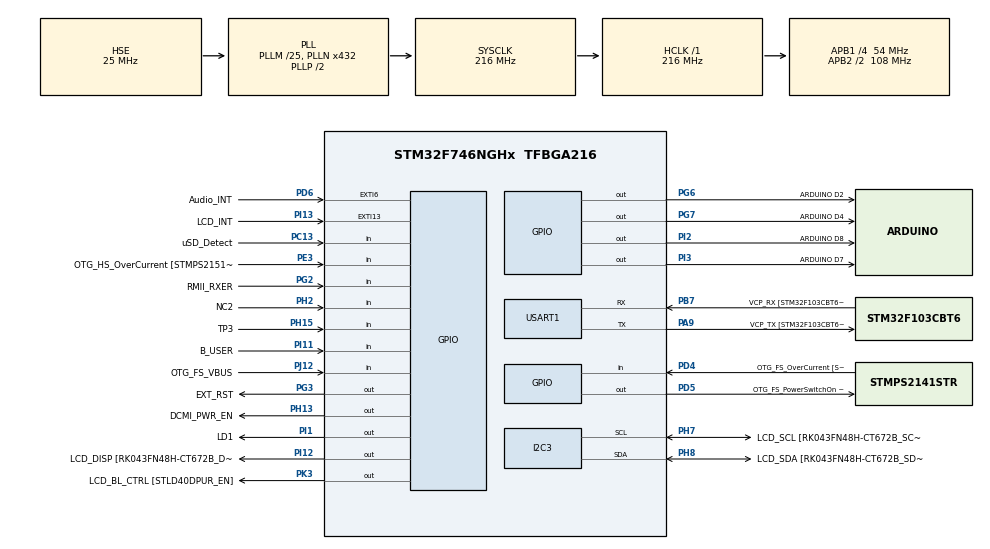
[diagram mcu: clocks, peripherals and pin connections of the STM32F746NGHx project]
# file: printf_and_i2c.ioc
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I2C3.Timing=0x20404768
Mcu.Family=STM32F7
Mcu.Name=STM32F746NGHx
Mcu.Package=TFBGA216
NVIC.PriorityGroup=NVIC_PRIORITYGROUP_4
NVIC.TIM3_IRQn=true\:0\:0\:false\:false\:true\:true\:true\:true
PA0/WKUP.GPIO_Label=ARDUINO A0
PA0/WKUP.GPIO_Mode=GPIO_MODE_ANALOG
PA0/WKUP.GPIO_PuPd=GPIO_NOPULL
PA0/WKUP.Signal=ADCx_IN0
PA1.GPIO_Label=RMII_REF_CLK [LAN8742A-CZ-TR_REFCLK0]
PA1.Signal=ETH_REF_CLK
PA10.GPIO_Label=OTG_FS_ID
PA10.Signal=USB_OTG_FS_ID
PA11.GPIO_Label=OTG_FS_N
PA11.Signal=USB_OTG_FS_DM
PA12.GPIO_Label=OTG_FS_P
PA12.Signal=USB_OTG_FS_DP
PA13.GPIO_Label=SWDIO
PA13.Mode=Serial_Wire
PA13.Signal=SYS_JTMS-SWDIO
PA14.GPIO_Label=SWCLK
PA14.Mode=Serial_Wire
PA14.Signal=SYS_JTCK-SWCLK
PA15.GPIO_Label=ARDUINO PWM/D9
PA15.GPIO_ModeDefaultPP=GPIO_MODE_AF_PP
PA15.GPIO_PuPd=GPIO_NOPULL
PA15.GPIO_Speed=GPIO_SPEED_FREQ_LOW
PA15.Signal=S_TIM2_CH1_ETR
PA2.GPIO_Label=RMII_MDIO [LAN8742A-CZ-TR_MDIO]
PA2.Signal=ETH_MDIO
PA3.GPIO_Label=ULPI_D0 [USB3320C-EZK_D0]
PA3.Signal=USB_OTG_HS_ULPI_D0
PA4.GPIO_Label=DCMI_HSYNC
PA4.Signal=DCMI_HSYNC
PA5.GPIO_Label=ULPI_CLK [USB3320C-EZK_CLKOUT]
PA5.Signal=USB_OTG_HS_ULPI_CK
PA6.Signal=DCMI_PIXCLK
PA7.GPIO_Label=RMII_CRS_DV [LAN8742A-CZ-TR_CRS_DV]
PA7.Signal=ETH_CRS_DV
PA8.GPIO_Label=ARDUINO PWM/D10
PA8.GPIO_ModeDefaultPP=GPIO_MODE_AF_PP
PA8.GPIO_PuPd=GPIO_NOPULL
PA8.GPIO_Speed=GPIO_SPEED_FREQ_LOW
PA8.Signal=S_TIM1_CH1
PA9.GPIO_Label=VCP_TX [STM32F103CBT6_PA3]
PA9.GPIO_Mode=GPIO_MODE_AF_PP
PA9.GPIO_PuPd=GPIO_NOPULL
PA9.GPIO_Speed=GPIO_SPEED_FREQ_LOW
PA9.Mode=Asynchronous
PA9.Signal=USART1_TX
PB0.GPIO_Label=ULPI_D1 [USB3320C-EZK_D1]
PB0.Signal=USB_OTG_HS_ULPI_D1
PB1.GPIO_Label=ULPI_D2 [USB3320C-EZK_D2]
PB1.Signal=USB_OTG_HS_ULPI_D2
PB10.GPIO_Label=ULPI_D3 [USB3320C-EZK_D3]
PB10.Signal=USB_OTG_HS_ULPI_D3
PB11.GPIO_Label=ULPI_D4 [USB3320C-EZK_D4]
PB11.Signal=USB_OTG_HS_ULPI_D4
PB12.GPIO_Label=ULPI_D5 [USB3320C-EZK_D5]
PB12.Signal=USB_OTG_HS_ULPI_D5
PB13.GPIO_Label=ULPI_D6 [USB3320C-EZK_D6]
PB13.Signal=USB_OTG_HS_ULPI_D6
PB14.GPIO_Label=ARDUINO MISO/D12
PB14.GPIO_Mode=GPIO_MODE_AF_PP
PB14.GPIO_PuPd=GPIO_NOPULL
PB14.GPIO_Speed=GPIO_SPEED_FREQ_LOW
PB14.Signal=SPI2_MISO
PB15.GPIO_Label=ARDUINO MOSI/PWM/D11
PB15.GPIO_Mode=GPIO_MODE_AF_PP
PB15.GPIO_PuPd=GPIO_NOPULL
PB15.GPIO_Speed=GPIO_SPEED_FREQ_LOW
PB15.Signal=SPI2_MOSI
PB2.Signal=QUADSPI_CLK
PB3.GPIO_Label=SWO
PB3.Signal=SYS_JTDO-SWO
PB4.GPIO_Label=ARDUINO PWM/D3
PB4.GPIO_ModeDefaultPP=GPIO_MODE_AF_PP
PB4.GPIO_PuPd=GPIO_NOPULL
PB4.GPIO_Speed=GPIO_SPEED_FREQ_LOW
PB4.Signal=S_TIM3_CH1
PB5.GPIO_Label=ULPI_D7 [USB3320C-EZK_D7]
PB5.Signal=USB_OTG_HS_ULPI_D7
PB6.GPIO_Label=QSPI_NCS [N25Q128A13EF840E_S]
PB6.Signal=QUADSPI_BK1_NCS
PB7.GPIO_Label=VCP_RX [STM32F103CBT6_PA2]
PB7.GPIO_Mode=GPIO_MODE_AF_PP
PB7.GPIO_PuPd=GPIO_NOPULL
PB7.GPIO_Speed=GPIO_SPEED_FREQ_LOW
PB7.Mode=Asynchronous
PB7.Signal=USART1_RX
PB8.GPIO_Label=ARDUINO SCL/D15
PB8.GPIO_Mode=GPIO_MODE_AF_OD
PB8.GPIO_PuPd=GPIO_NOPULL
PB8.GPIO_Speed=GPIO_SPEED_FREQ_LOW
PB8.Signal=I2C1_SCL
PB9.GPIO_Label=ARDUINO SDA/D14
PB9.GPIO_Mode=GPIO_MODE_AF_OD
PB9.GPIO_PuPd=GPIO_NOPULL
PB9.GPIO_Speed=GPIO_SPEED_FREQ_LOW
PB9.Signal=I2C1_SDA
PC0.GPIO_Label=ULPI_STP [USB3320C-EZK_STP]
PC0.Signal=USB_OTG_HS_ULPI_STP
PC1.GPIO_Label=RMII_MDC [LAN8742A-CZ-TR_MDC]
PC1.Signal=ETH_MDC
PC10.GPIO_Label=SDMMC_D2
PC10.Signal=SDMMC1_D2
PC11.GPIO_Label=SDMMC_D3
PC11.Signal=SDMMC1_D3
PC12.GPIO_Label=SDMMC_CK
PC12.Signal=SDMMC1_CK
PC13.GPIO_Label=uSD_Detect
PC13.Signal=GPIO_Input
PC14/OSC32_IN.GPIO_Label=RCC_OSC32_IN
PC14/OSC32_IN.Signal=RCC_OSC32_IN
PC15/OSC32_OUT.GPIO_Label=RCC_OSC32_OUT
PC15/OSC32_OUT.Signal=RCC_OSC32_OUT
PC2.GPIO_Label=ULPI_DIR [USB3320C-EZK_DIR]
PC2.Signal=USB_OTG_HS_ULPI_DIR
PC3.GPIO_Label=FMC_SDCKE0 [MT48LC4M32B2B5-6A_CKE]
PC3.Signal=FMC_SDCKE0
PC4.GPIO_Label=RMII_RXD0 [LAN8742A-CZ-TR_RXD0]
PC4.Signal=ETH_RXD0
PC5.GPIO_Label=RMII_RXD1 [LAN8742A-CZ-TR_RXD1]
PC5.Signal=ETH_RXD1
PC6.GPIO_Label=ARDUINO TX/D1
PC6.Signal=USART6_TX
PC7.GPIO_Label=ARDUINO RX/D0
PC7.Signal=USART6_RX
PC8.Signal=SDMMC1_D0
PC9.Signal=SDMMC1_D1
PD0.GPIO_Label=FMC_D2 [MT48LC4M32B2B5-6A_DQ2]
PD0.Signal=FMC_D2_DA2
PD1.GPIO_Label=FMC_D3 [MT48LC4M32B2B5-6A_DQ3]
PD1.Signal=FMC_D3_DA3
PD10.GPIO_Label=FMC_D15 [MT48LC4M32B2B5-6A_DQ15]
PD10.Signal=FMC_D15_DA15
PD11.GPIO_Label=QSPI_D0 [N25Q128A13EF840E_DQ0]
PD11.Signal=QUADSPI_BK1_IO0
PD12.GPIO_Label=QSPI_D1 [N25Q128A13EF840E_DQ1]
PD12.Signal=QUADSPI_BK1_IO1
PD13.GPIO_Label=QSPI_D3 [N25Q128A13EF840E_DQ3]
PD13.Signal=QUADSPI_BK1_IO3
PD14.GPIO_Label=FMC_D0 [MT48LC4M32B2B5-6A_DQ0]
PD14.Signal=FMC_D0_DA0
PD15.GPIO_Label=FMC_D1 [MT48LC4M32B2B5-6A_DQ1]
PD15.Signal=FMC_D1_DA1
PD2.GPIO_Label=SDMMC_D0
PD2.Signal=SDMMC1_CMD
PD3.GPIO_Label=DCMI_D5
PD3.Signal=DCMI_D5
PD4.GPIO_Label=OTG_FS_OverCurrent [STMPS2141STR_Fault]
PD4.Signal=GPIO_Input
PD5.GPIO_Label=OTG_FS_PowerSwitchOn [STMPS2141STR_EN]
PD5.PinState=GPIO_PIN_SET
PD5.Signal=GPIO_Output
PD6.GPIO_Label=Audio_INT
PD6.GPIO_ModeDefaultEXTI=GPIO_MODE_EVT_RISING
PD6.Signal=GPXTI6
PD7.GPIO_Label=SPDIF_RX0 [74LVC1G04SE_4]
PD7.Signal=SPDIFRX_IN0
PD8.GPIO_Label=FMC_D13 [MT48LC4M32B2B5-6A_DQ13]
PD8.Signal=FMC_D13_DA13
PD9.GPIO_Label=FMC_D14 [MT48LC4M32B2B5-6A_DQ14]
PD9.Signal=FMC_D14_DA14
PE0.GPIO_Label=FMC_NBL0 [MT48LC4M32B2B5-6A_DQM0]
PE0.Signal=FMC_NBL0
PE1.GPIO_Label=FMC_NBL1 [MT48LC4M32B2B5-6A_DQM1]
PE1.Signal=FMC_NBL1
PE10.GPIO_Label=FMC_D7 [MT48LC4M32B2B5-6A_DQ7]
PE10.Signal=FMC_D7_DA7
PE11.GPIO_Label=FMC_D8 [MT48LC4M32B2B5-6A_DQ8]
PE11.Signal=FMC_D8_DA8
PE12.GPIO_Label=FMC_D9 [MT48LC4M32B2B5-6A_DQ9]
PE12.Signal=FMC_D9_DA9
PE13.GPIO_Label=FMC_D10 [MT48LC4M32B2B5-6A_DQ10]
PE13.Signal=FMC_D10_DA10
PE14.GPIO_Label=FMC_D11 [MT48LC4M32B2B5-6A_DQ11]
PE14.Signal=FMC_D11_DA11
PE15.GPIO_Label=FMC_D12 [MT48LC4M32B2B5-6A_DQ12]
PE15.Signal=FMC_D12_DA12
PE2.GPIO_Label=QSPI_D2 [N25Q128A13EF840E_DQ2]
PE2.Signal=QUADSPI_BK1_IO2
PE3.GPIO_Label=OTG_HS_OverCurrent [STMPS2151STR_FAULT]
PE3.Signal=GPIO_Input
PE4.GPIO_Label=LCD_B0 [RK043FN48H-CT672B_B0]
PE4.Signal=LTDC_B0
PE5.GPIO_Label=DCMI_D6
PE5.Signal=DCMI_D6
PE6.GPIO_Label=DCMI_D7
PE6.Signal=DCMI_D7
PE7.GPIO_Label=FMC_D4 [MT48LC4M32B2B5-6A_DQ4]
PE7.Signal=FMC_D4_DA4
PE8.GPIO_Label=FMC_D5 [MT48LC4M32B2B5-6A_DQ5]
PE8.Signal=FMC_D5_DA5
PE9.GPIO_Label=FMC_D6 [MT48LC4M32B2B5-6A_DQ6]
PE9.Signal=FMC_D6_DA6
PF0.GPIO_Label=FMC_A0 [MT48LC4M32B2B5-6A_A0]
PF0.Signal=FMC_A0
PF1.GPIO_Label=FMC_A1 [MT48LC4M32B2B5-6A_A1]
PF1.Signal=FMC_A1
PF10.GPIO_Label=ARDUINO A1
PF10.GPIO_Mode=GPIO_MODE_ANALOG
PF10.GPIO_PuPd=GPIO_NOPULL
PF10.Signal=ADC3_IN8
PF11.GPIO_Label=FMC_SDNRAS [MT48LC4M32B2B5-6A_RAS]
PF11.Signal=FMC_SDNRAS
PF12.GPIO_Label=FMC_A6 [MT48LC4M32B2B5-6A_A6]
PF12.Signal=FMC_A6
PF13.GPIO_Label=FMC_A7 [MT48LC4M32B2B5-6A_A7]
PF13.Signal=FMC_A7
PF14.GPIO_Label=FMC_A8 [MT48LC4M32B2B5-6A_A8]
PF14.Signal=FMC_A8
PF15.GPIO_Label=FMC_A9 [MT48LC4M32B2B5-6A_A9]
PF15.Signal=FMC_A9
PF2.GPIO_Label=FMC_A2 [MT48LC4M32B2B5-6A_A2]
PF2.Signal=FMC_A2
PF3.GPIO_Label=FMC_A3 [MT48LC4M32B2B5-6A_A3]
PF3.Signal=FMC_A3
PF4.GPIO_Label=FMC_A4 [MT48LC4M32B2B5-6A_A4]
PF4.Signal=FMC_A4
PF5.GPIO_Label=FMC_A5 [MT48LC4M32B2B5-6A_A5]
PF5.Signal=FMC_A5
PF6.GPIO_Label=ARDUINO A5
PF6.GPIO_Mode=GPIO_MODE_ANALOG
PF6.GPIO_PuPd=GPIO_NOPULL
PF6.Signal=ADC3_IN4
PF7.GPIO_Label=ARDUINO A4
PF7.GPIO_Mode=GPIO_MODE_ANALOG
PF7.GPIO_PuPd=GPIO_NOPULL
PF7.Signal=ADC3_IN5
PF8.GPIO_Label=ARDUINO A3
PF8.GPIO_Mode=GPIO_MODE_ANALOG
PF8.GPIO_PuPd=GPIO_NOPULL
PF8.Signal=ADC3_IN6
PF9.GPIO_Label=ARDUINO A2
PF9.GPIO_Mode=GPIO_MODE_ANALOG
PF9.GPIO_PuPd=GPIO_NOPULL
PF9.Signal=ADC3_IN7
PG0.GPIO_Label=FMC_A10 [MT48LC4M32B2B5-6A_A10]
PG0.Signal=FMC_A10
PG1.GPIO_Label=FMC_A11 [MT48LC4M32B2B5-6A_A11]
PG1.Signal=FMC_A11
PG10.GPIO_Label=SAI2_SDB [WM8994ECS/R_ADCDAT1]
PG10.Signal=SAI2_SD_B
PG11.GPIO_Label=RMII_TX_EN [LAN8742A-CZ-TR_TXEN]
PG11.Signal=ETH_TX_EN
PG12.GPIO_Label=LCD_B4 [RK043FN48H-CT672B_B4]
PG12.Signal=LTDC_B4
PG13.GPIO_Label=RMII_TXD0 [LAN8742A-CZ-TR_TXD0]
PG13.Signal=ETH_TXD0
PG14.GPIO_Label=RMII_TXD1 [LAN8742A-CZ-TR_TXD1]
PG14.Signal=ETH_TXD1
PG15.GPIO_Label=FMC_SDNCAS [MT48LC4M32B2B5-6A_CAS]
PG15.Signal=FMC_SDNCAS
PG2.GPIO_Label=RMII_RXER
PG2.Signal=GPIO_Input
PG3.GPIO_Label=EXT_RST
PG3.Signal=GPIO_Output
PG4.GPIO_Label=FMC_BA0 [MT48LC4M32B2B5-6A_BA0]
PG4.Signal=FMC_A14_BA0
PG5.GPIO_Label=FMC_BA1 [MT48LC4M32B2B5-6A_BA1]
PG5.Signal=FMC_A15_BA1
PG6.GPIO_Label=ARDUINO D2
PG6.Signal=GPIO_Output
PG7.GPIO_Label=ARDUINO D4
PG7.Signal=GPIO_Output
PG8.GPIO_Label=FMC_SDCLK [MT48LC4M32B2B5-6A_CLK]
PG8.Signal=FMC_SDCLK
PG9.GPIO_Label=DCMI_VSYNC
PG9.Signal=DCMI_VSYNC
PH0/OSC_IN.GPIO_Label=OSC_25M [NZ2520SB-25.00M_OUT]
PH0/OSC_IN.Mode=HSE-External-Oscillator
PH0/OSC_IN.Signal=RCC_OSC_IN
PH1/OSC_OUT.Mode=HSE-External-Oscillator
PH1/OSC_OUT.Signal=RCC_OSC_OUT
PH10.GPIO_Label=DCMI_D1
PH10.Signal=DCMI_D1
PH11.GPIO_Label=DCMI_D2
PH11.Signal=DCMI_D2
PH12.GPIO_Label=DCMI_D3
PH12.Signal=DCMI_D3
PH13.GPIO_Label=DCMI_PWR_EN
PH13.Signal=GPIO_Output
PH14.GPIO_Label=DCMI_D4
PH14.Signal=DCMI_D4
PH15.GPIO_Label=TP3
PH15.Signal=GPIO_Input
PH2.GPIO_Label=NC2
PH2.Signal=GPIO_Input
PH3.GPIO_Label=FMC_SDNE0 [MT48LC4M32B2B5-6A_CS]
PH3.Signal=FMC_SDNE0
PH4.GPIO_Label=ULPI_NXT [USB3320C-EZK_NXT]
PH4.Signal=USB_OTG_HS_ULPI_NXT
PH5.GPIO_Label=FMC_SDNME [MT48LC4M32B2B5-6A_WE]
PH5.Signal=FMC_SDNWE
PH6.GPIO_Label=ARDUINO PWM/D6
PH6.Signal=S_TIM12_CH1
PH7.GPIO_Label=LCD_SCL [RK043FN48H-CT672B_SCL]
PH7.Mode=I2C
PH7.Signal=I2C3_SCL
PH8.GPIO_Label=LCD_SDA [RK043FN48H-CT672B_SDA]
PH8.Mode=I2C
PH8.Signal=I2C3_SDA
PH9.GPIO_Label=DCMI_D0
PH9.Signal=DCMI_D0
PI0.GPIO_Label=ARDUINO PWM/CS/D5
PI0.GPIO_ModeDefaultPP=GPIO_MODE_AF_PP
PI0.GPIO_PuPd=GPIO_NOPULL
PI0.GPIO_Speed=GPIO_SPEED_FREQ_LOW
PI0.Signal=S_TIM5_CH4
PI1.GPIO_Label=LD1
PI1.Signal=GPIO_Output
PI10.GPIO_Label=LCD_HSYNC [RK043FN48H-CT672B_HSYNC]
PI10.Signal=LTDC_HSYNC
PI11.GPIO_Label=B_USER
PI11.GPIO_PuPd=GPIO_PULLDOWN
PI11.Signal=GPIO_Input
PI12.GPIO_Label=LCD_DISP [RK043FN48H-CT672B_DISP] 
PI12.Signal=GPIO_Output
PI13.GPIO_Label=LCD_INT
PI13.GPIO_ModeDefaultEXTI=GPIO_MODE_EVT_RISING
PI13.Signal=GPXTI13
PI14.GPIO_Label=LCD_CLK [RK043FN48H-CT672B_CLK]
PI14.Signal=LTDC_CLK
PI15.GPIO_Label=LCD_R0 [RK043FN48H-CT672B_R0]
PI15.Signal=LTDC_R0
PI2.GPIO_Label=ARDUINO D8
PI2.Signal=GPIO_Output
PI3.GPIO_Label=ARDUINO D7
PI3.Signal=GPIO_Output
PI4.GPIO_Label=SAI2_MCLKA [WM8994ECS/R_MCLK1]
PI4.Signal=SAI2_MCLK_A
PI5.GPIO_Label=SAI2_SCKA [WM8994ECS/R_BCLK1]
PI5.Signal=SAI2_SCK_A
PI6.GPIO_Label=SAI2_SDA [WM8994ECS/R_DACDAT1]
PI6.Signal=SAI2_SD_A
PI7.GPIO_Label=SAI2_FSA [WM8994ECS/R_LRCLK1]
PI7.Signal=SAI2_FS_A
PI8.GPIO_Label=NC1 [TP2]
PI8.Signal=RTC_TS
PI9.GPIO_Label=LCD_VSYNC [RK043FN48H-CT672B_VSYNC]
PI9.Signal=LTDC_VSYNC
PJ0.GPIO_Label=LCD_R1 [RK043FN48H-CT672B_R1]
PJ0.Signal=LTDC_R1
PJ1.GPIO_Label=LCD_R2 [RK043FN48H-CT672B_R2]
PJ1.Signal=LTDC_R2
PJ10.GPIO_Label=LCD_G3 [RK043FN48H-CT672B_G3]
PJ10.Signal=LTDC_G3
PJ11.GPIO_Label=LCD_G4 [RK043FN48H-CT672B_G4]
PJ11.Signal=LTDC_G4
PJ12.GPIO_Label=OTG_FS_VBUS
PJ12.Signal=GPIO_Input
PJ13.GPIO_Label=LCD_B1 [RK043FN48H-CT672B_B1]
PJ13.Signal=LTDC_B1
PJ14.GPIO_Label=LCD_B2 [RK043FN48H-CT672B_B2]
PJ14.Signal=LTDC_B2
PJ15.GPIO_Label=LCD_B3 [RK043FN48H-CT672B_B3]
PJ15.Signal=LTDC_B3
PJ2.GPIO_Label=LCD_R3 [RK043FN48H-CT672B_R3]
PJ2.Signal=LTDC_R3
PJ3.GPIO_Label=LCD_R4 [RK043FN48H-CT672B_R4]
PJ3.Signal=LTDC_R4
PJ4.GPIO_Label=LCD_R5 [RK043FN48H-CT672B_R5]
PJ4.Signal=LTDC_R5
PJ5.GPIO_Label=LCD_R6 [RK043FN48H-CT672B_R6]
PJ5.Signal=LTDC_R6
PJ6.GPIO_Label=LCD_R7 [RK043FN48H-CT672B_R7]
PJ6.Signal=LTDC_R7
PJ7.GPIO_Label=LCD_G0 [RK043FN48H-CT672B_G0]
PJ7.Signal=LTDC_G0
PJ8.GPIO_Label=LCD_G1 [RK043FN48H-CT672B_G1]
PJ8.Signal=LTDC_G1
PJ9.GPIO_Label=LCD_G2 [RK043FN48H-CT672B_G2]
PJ9.Signal=LTDC_G2
PK0.GPIO_Label=LCD_G5 [RK043FN48H-CT672B_G5]
PK0.Signal=LTDC_G5
PK1.GPIO_Label=LCD_G6 [RK043FN48H-CT672B_G6]
PK1.Signal=LTDC_G6
PK2.GPIO_Label=LCD_G7 [RK043FN48H-CT672B_G7]
PK2.Signal=LTDC_G7
PK3.GPIO_Label=LCD_BL_CTRL [STLD40DPUR_EN]
PK3.Signal=GPIO_Output
PK4.GPIO_Label=LCD_B5 [RK043FN48H-CT672B_B5]
PK4.Signal=LTDC_B5
PK5.GPIO_Label=LCD_B6 [RK043FN48H-CT672B_B6]
PK5.Signal=LTDC_B6
PK6.GPIO_Label=LCD_B7 [RK043FN48H-CT672B_B7]
PK6.Signal=LTDC_B7
PK7.GPIO_Label=LCD_DE [RK043FN48H-CT672B_DE]
PK7.Signal=LTDC_DE
ProjectManager.HeapSize=0x200
ProjectManager.StackSize=0x400
ProjectManager.TargetToolchain=CMake
RCC.AHBFreq_Value=216000000
RCC.APB1CLKDivider=RCC_HCLK_DIV4
RCC.APB1Freq_Value=54000000
RCC.APB1TimFreq_Value=108000000
RCC.APB2CLKDivider=RCC_HCLK_DIV2
RCC.APB2Freq_Value=108000000
RCC.APB2TimFreq_Value=216000000
RCC.CortexFreq_Value=216000000
RCC.HCLKFreq_Value=216000000
RCC.HSE_VALUE=25000000
RCC.HSI_VALUE=16000000
RCC.LSE_VALUE=32768
RCC.PLLM=25
RCC.PLLN=432
RCC.PLLSourceVirtual=RCC_PLLSOURCE_HSE
RCC.SYSCLKFreq_VALUE=216000000
RCC.SYSCLKSource=RCC_SYSCLKSOURCE_PLLCLK
RCC.USBFreq_Value=216000000
RCC.VCOOutputFreq_Value=432000000
SH.ADCx_IN0.0=ADC3_IN0
SH.FMC_A0.0=FMC_A0
SH.FMC_A1.0=FMC_A1
SH.FMC_A10.0=FMC_A10
SH.FMC_A11.0=FMC_A11
SH.FMC_A14_BA0.0=FMC_BA0
SH.FMC_A15_BA1.0=FMC_BA1
SH.FMC_A2.0=FMC_A2
SH.FMC_A3.0=FMC_A3
SH.FMC_A4.0=FMC_A4
SH.FMC_A5.0=FMC_A5
SH.FMC_A6.0=FMC_A6
SH.FMC_A7.0=FMC_A7
SH.FMC_A8.0=FMC_A8
SH.FMC_A9.0=FMC_A9
SH.FMC_D0_DA0.0=FMC_D0
SH.FMC_D10_DA10.0=FMC_D10
SH.FMC_D11_DA11.0=FMC_D11
SH.FMC_D12_DA12.0=FMC_D12
SH.FMC_D13_DA13.0=FMC_D13
SH.FMC_D14_DA14.0=FMC_D14
SH.FMC_D15_DA15.0=FMC_D15
SH.FMC_D1_DA1.0=FMC_D1
SH.FMC_D2_DA2.0=FMC_D2
SH.FMC_D3_DA3.0=FMC_D3
SH.FMC_D4_DA4.0=FMC_D4
SH.FMC_D5_DA5.0=FMC_D5
SH.FMC_D6_DA6.0=FMC_D6
SH.FMC_D7_DA7.0=FMC_D7
SH.FMC_D8_DA8.0=FMC_D8
SH.FMC_D9_DA9.0=FMC_D9
SH.FMC_NBL0.0=FMC_NBL0
SH.FMC_NBL1.0=FMC_NBL1
SH.FMC_SDCLK.0=FMC_SDCLK
SH.FMC_SDNCAS.0=FMC_SDNCAS
SH.FMC_SDNRAS.0=FMC_SDNRAS
SH.FMC_SDNWE.0=FMC_SDNWE
SH.S_TIM12_CH1.0=TIM12_CH1
SH.S_TIM1_CH1.0=TIM1_CH1
SH.S_TIM2_CH1_ETR.0=TIM2_CH1
SH.S_TIM3_CH1.0=TIM3_CH1
SH.S_TIM5_CH4.0=TIM5_CH4
TIM3.Period=5399
TIM3.Prescaler=9999
USART1.VirtualMode-Asynchronous=VM_ASYNC
VP_TIM3_VS_ClockSourceINT.Mode=Internal
board=STM32F746G-DISCO

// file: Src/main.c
/* USER CODE BEGIN Header */
/**
  ******************************************************************************
  * @file           : main.c
  * @brief          : Main program body
  ******************************************************************************
  * @attention
  *
  * Copyright (c) 2026 STMicroelectronics.
  * All rights reserved.
  *
  * This software is licensed under terms that can be found in the LICENSE file
  * in the root directory of this software component.
  * If no LICENSE file comes with this software, it is provided AS-IS.
  *
  ******************************************************************************
  */
/* USER CODE END Header */
#include "main.h"

/* USER CODE BEGIN Includes */
#include <stdio.h>
/* USER CODE END Includes */

I2C_HandleTypeDef hi2c3;

TIM_HandleTypeDef htim3;

UART_HandleTypeDef huart1;

/* USER CODE BEGIN PV */
uint8_t button_override = 0;  // 1 = кнопка нажата, 0 = обычный режим
/* USER CODE END PV */

void SystemClock_Config(void);
static void MX_GPIO_Init(void);
static void MX_TIM3_Init(void);
static void MX_USART1_UART_Init(void);
static void MX_I2C3_Init(void);

/* USER CODE BEGIN 0 */
int _write(int file, char *ptr, int len)
{
    HAL_UART_Transmit(&huart1, (uint8_t*)ptr, len, HAL_MAX_DELAY);
    return len;
}
/* USER CODE END 0 */

int main(void)
{

  /* MCU Configuration--------------------------------------------------------*/

  /* Reset of all peripherals, Initializes the Flash interface and the Systick. */
  HAL_Init();

  /* Configure the system clock */
  SystemClock_Config();

  /* Initialize all configured peripherals */
  MX_GPIO_Init();
  MX_TIM3_Init();
  MX_USART1_UART_Init();
  MX_I2C3_Init();

/* USER CODE BEGIN 2 */

// ------ Включение прерываний от tim3 ------
HAL_TIM_Base_Start_IT(&htim3);

// ------ I2C сканер ------
// Перебираем все адреса i2c3 и пытаемся получить от них ответ
printf("I2C3 Scanner starting...\r\n");
printf("Scanning addresses 0x01 to 0x7F\r\n");
printf("-----------------------------------\r\n");

uint8_t found = 0;
for (uint8_t addr = 1; addr < 128; addr++)
{
    HAL_StatusTypeDef result = HAL_I2C_IsDeviceReady(&hi2c3, addr << 1, 2, 10);
    if (result == HAL_OK)
    {
        printf("Found device at: 0x%02X\r\n", addr);
        found++;
    }
}

printf("-----------------------------------\r\n");
printf("Scan complete. Found %d device(s).\r\n", found);

// ------ Получаем Vendor ID тачскрина ------
uint8_t reg_vid = 0xA8;
uint8_t value = 0;
HAL_I2C_Master_Transmit(&hi2c3, 0x38 << 1, &reg_vid, 1, 10);
HAL_I2C_Master_Receive(&hi2c3, 0x38 << 1, &value, 1, 10);
printf("FT5336 Vendor ID: 0x%02X (expected 0x11)\r\n", value);

// ------ Получаем Firmware Version тачскрина ------
uint8_t reg_fw = 0xA6;
uint8_t value_fw = 0;
HAL_I2C_Master_Transmit(&hi2c3, 0x38 << 1, &reg_fw, 1, 10);
HAL_I2C_Master_Receive(&hi2c3, 0x38 << 1, &value_fw, 1, 10);
printf("FT5336 Firmware Version: 0x%02X \r\n", value_fw);

uint8_t buf[4];
uint8_t reg_xy_ts = 0x03;
uint16_t x, y;

uint8_t n_touch = 0;
uint8_t reg_status = 0x02;

while(1){

  HAL_I2C_Master_Transmit(&hi2c3, 0x38 << 1,  &reg_status, 1, 10);
  HAL_I2C_Master_Receive (&hi2c3, 0x38 << 1,  &n_touch,    1, 10);
  // printf("status reg:  %d\r\n", n_touch);

  if (n_touch > 0)
  {
  HAL_I2C_Master_Transmit(&hi2c3, 0x38 << 1,  &reg_xy_ts, 1, 10);
  HAL_I2C_Master_Receive (&hi2c3, 0x38 << 1,  buf,        4, 10);

  x = (buf[0] & 0x0F) << 8 | buf[1];
  y = (buf[2] & 0x0F) << 8 | buf[3];

  printf("Touchscreen coordinate: x=%d,  y=%d\r\n", x, y);
  }
}

/* USER CODE END 2 */

  /* Infinite loop */
  /* USER CODE BEGIN WHILE */
  while (1)
  {
  //   if (HAL_GPIO_ReadPin(B_USER_GPIO_Port, B_USER_Pin) == GPIO_PIN_SET) {
  //     // Кнопка нажата
  //     button_override = 1;
  //   }
  //   else {
  //     // кнопка не нажата
  //     button_override = 0;
  //   }

    HAL_I2C_Master_Transmit(&hi2c3, 0x38 << 1,  &reg_status, 1, 10);
    HAL_I2C_Master_Receive (&hi2c3, 0x38 << 1,  &n_touch,    1, 10);
    // printf("status reg:  %d\r\n", n_touch);

    if (n_touch > 0)
    {
    HAL_I2C_Master_Transmit(&hi2c3, 0x38 << 1,  &reg_xy_ts, 1, 10);
    HAL_I2C_Master_Receive (&hi2c3, 0x38 << 1,  buf,        4, 10);

    x = (buf[0] & 0x0F) << 8 | buf[1];
    y = (buf[2] & 0x0F) << 8 | buf[3];

    printf("Touchscreen coordinate: x=%d,  y=%d\r\n", x, y);
    }
}

    /* USER CODE END WHILE */

}

void SystemClock_Config(void)
{
  RCC_OscInitTypeDef RCC_OscInitStruct = {0};
  RCC_ClkInitTypeDef RCC_ClkInitStruct = {0};

  /** Configure the main internal regulator output voltage
  */
  __HAL_RCC_PWR_CLK_ENABLE();
  __HAL_PWR_VOLTAGESCALING_CONFIG(PWR_REGULATOR_VOLTAGE_SCALE1);

  /** Initializes the RCC Oscillators according to the specified parameters
  * in the RCC_OscInitTypeDef structure.
  */
  RCC_OscInitStruct.OscillatorType = RCC_OSCILLATORTYPE_HSE;
  RCC_OscInitStruct.HSEState = RCC_HSE_ON;
  RCC_OscInitStruct.PLL.PLLState = RCC_PLL_ON;
  RCC_OscInitStruct.PLL.PLLSource = RCC_PLLSOURCE_HSE;
  RCC_OscInitStruct.PLL.PLLM = 25;
  RCC_OscInitStruct.PLL.PLLN = 432;
  RCC_OscInitStruct.PLL.PLLP = RCC_PLLP_DIV2;
  RCC_OscInitStruct.PLL.PLLQ = 2;
  if (HAL_RCC_OscConfig(&RCC_OscInitStruct) != HAL_OK)
  {
    Error_Handler();
  }

  /** Activate the Over-Drive mode
  */
  if (HAL_PWREx_EnableOverDrive() != HAL_OK)
  {
    Error_Handler();
  }

  /** Initializes the CPU, AHB and APB buses clocks
  */
  RCC_ClkInitStruct.ClockType = RCC_CLOCKTYPE_HCLK|RCC_CLOCKTYPE_SYSCLK
                              |RCC_CLOCKTYPE_PCLK1|RCC_CLOCKTYPE_PCLK2;
  RCC_ClkInitStruct.SYSCLKSource = RCC_SYSCLKSOURCE_PLLCLK;
  RCC_ClkInitStruct.AHBCLKDivider = RCC_SYSCLK_DIV1;
  RCC_ClkInitStruct.APB1CLKDivider = RCC_HCLK_DIV4;
  RCC_ClkInitStruct.APB2CLKDivider = RCC_HCLK_DIV2;

  if (HAL_RCC_ClockConfig(&RCC_ClkInitStruct, FLASH_LATENCY_7) != HAL_OK)
  {
    Error_Handler();
  }
}

static void MX_I2C3_Init(void)
{

  hi2c3.Instance = I2C3;
  hi2c3.Init.Timing = 0x20404768;
  hi2c3.Init.OwnAddress1 = 0;
  hi2c3.Init.AddressingMode = I2C_ADDRESSINGMODE_7BIT;
  hi2c3.Init.DualAddressMode = I2C_DUALADDRESS_DISABLE;
  hi2c3.Init.OwnAddress2 = 0;
  hi2c3.Init.OwnAddress2Masks = I2C_OA2_NOMASK;
  hi2c3.Init.GeneralCallMode = I2C_GENERALCALL_DISABLE;
  hi2c3.Init.NoStretchMode = I2C_NOSTRETCH_DISABLE;
  if (HAL_I2C_Init(&hi2c3) != HAL_OK)
  {
    Error_Handler();
  }

  /** Configure Analogue filter
  */
  if (HAL_I2CEx_ConfigAnalogFilter(&hi2c3, I2C_ANALOGFILTER_ENABLE) != HAL_OK)
  {
    Error_Handler();
  }

  /** Configure Digital filter
  */
  if (HAL_I2CEx_ConfigDigitalFilter(&hi2c3, 0) != HAL_OK)
  {
    Error_Handler();
  }

}

static void MX_TIM3_Init(void)
{

  TIM_ClockConfigTypeDef sClockSourceConfig = {0};
  TIM_MasterConfigTypeDef sMasterConfig = {0};

  htim3.Instance = TIM3;
  htim3.Init.Prescaler = 9999;
  htim3.Init.CounterMode = TIM_COUNTERMODE_UP;
  htim3.Init.Period = 5399;
  htim3.Init.ClockDivision = TIM_CLOCKDIVISION_DIV1;
  htim3.Init.AutoReloadPreload = TIM_AUTORELOAD_PRELOAD_DISABLE;
  if (HAL_TIM_Base_Init(&htim3) != HAL_OK)
  {
    Error_Handler();
  }
  sClockSourceConfig.ClockSource = TIM_CLOCKSOURCE_INTERNAL;
  if (HAL_TIM_ConfigClockSource(&htim3, &sClockSourceConfig) != HAL_OK)
  {
    Error_Handler();
  }
  sMasterConfig.MasterOutputTrigger = TIM_TRGO_RESET;
  sMasterConfig.MasterSlaveMode = TIM_MASTERSLAVEMODE_DISABLE;
  if (HAL_TIMEx_MasterConfigSynchronization(&htim3, &sMasterConfig) != HAL_OK)
  {
    Error_Handler();
  }

}

static void MX_USART1_UART_Init(void)
{

  huart1.Instance = USART1;
  huart1.Init.BaudRate = 115200;
  huart1.Init.WordLength = UART_WORDLENGTH_8B;
  huart1.Init.StopBits = UART_STOPBITS_1;
  huart1.Init.Parity = UART_PARITY_NONE;
  huart1.Init.Mode = UART_MODE_TX_RX;
  huart1.Init.HwFlowCtl = UART_HWCONTROL_NONE;
  huart1.Init.OverSampling = UART_OVERSAMPLING_16;
  huart1.Init.OneBitSampling = UART_ONE_BIT_SAMPLE_DISABLE;
  huart1.AdvancedInit.AdvFeatureInit = UART_ADVFEATURE_NO_INIT;
  if (HAL_UART_Init(&huart1) != HAL_OK)
  {
    Error_Handler();
  }

}

static void MX_GPIO_Init(void)
{
  GPIO_InitTypeDef GPIO_InitStruct = {0};

  /* GPIO Ports Clock Enable */
  __HAL_RCC_GPIOE_CLK_ENABLE();
  __HAL_RCC_GPIOG_CLK_ENABLE();
  __HAL_RCC_GPIOB_CLK_ENABLE();
  __HAL_RCC_GPIOD_CLK_ENABLE();
  __HAL_RCC_GPIOC_CLK_ENABLE();
  __HAL_RCC_GPIOA_CLK_ENABLE();
  __HAL_RCC_GPIOJ_CLK_ENABLE();
  __HAL_RCC_GPIOI_CLK_ENABLE();
  __HAL_RCC_GPIOK_CLK_ENABLE();
  __HAL_RCC_GPIOF_CLK_ENABLE();
  __HAL_RCC_GPIOH_CLK_ENABLE();

  /*Configure GPIO pin Output Level */
  HAL_GPIO_WritePin(OTG_FS_PowerSwitchOn_GPIO_Port, OTG_FS_PowerSwitchOn_Pin, GPIO_PIN_SET);

  /*Configure GPIO pin Output Level */
  HAL_GPIO_WritePin(GPIOI, ARDUINO_D7_Pin|ARDUINO_D8_Pin|LD1_Pin|LCD_DISP_Pin, GPIO_PIN_RESET);

  /*Configure GPIO pin Output Level */
  HAL_GPIO_WritePin(LCD_BL_CTRL_GPIO_Port, LCD_BL_CTRL_Pin, GPIO_PIN_RESET);

  /*Configure GPIO pin Output Level */
  HAL_GPIO_WritePin(DCMI_PWR_EN_GPIO_Port, DCMI_PWR_EN_Pin, GPIO_PIN_RESET);

  /*Configure GPIO pin Output Level */
  HAL_GPIO_WritePin(GPIOG, ARDUINO_D4_Pin|ARDUINO_D2_Pin|EXT_RST_Pin, GPIO_PIN_RESET);

  /*Configure GPIO pin : LCD_B0_Pin */
  GPIO_InitStruct.Pin = LCD_B0_Pin;
  GPIO_InitStruct.Mode = GPIO_MODE_AF_PP;
  GPIO_InitStruct.Pull = GPIO_NOPULL;
  GPIO_InitStruct.Speed = GPIO_SPEED_FREQ_LOW;
  GPIO_InitStruct.Alternate = GPIO_AF14_LTDC;
  HAL_GPIO_Init(LCD_B0_GPIO_Port, &GPIO_InitStruct);

  /*Configure GPIO pin : OTG_HS_OverCurrent_Pin */
  GPIO_InitStruct.Pin = OTG_HS_OverCurrent_Pin;
  GPIO_InitStruct.Mode = GPIO_MODE_INPUT;
  GPIO_InitStruct.Pull = GPIO_NOPULL;
  HAL_GPIO_Init(OTG_HS_OverCurrent_GPIO_Port, &GPIO_InitStruct);

  /*Configure GPIO pin : QSPI_D2_Pin */
  GPIO_InitStruct.Pin = QSPI_D2_Pin;
  GPIO_InitStruct.Mode = GPIO_MODE_AF_PP;
  GPIO_InitStruct.Pull = GPIO_NOPULL;
  GPIO_InitStruct.Speed = GPIO_SPEED_FREQ_VERY_HIGH;
  GPIO_InitStruct.Alternate = GPIO_AF9_QUADSPI;
  HAL_GPIO_Init(QSPI_D2_GPIO_Port, &GPIO_InitStruct);

  /*Configure GPIO pins : RMII_TXD1_Pin RMII_TXD0_Pin RMII_TX_EN_Pin */
  GPIO_InitStruct.Pin = RMII_TXD1_Pin|RMII_TXD0_Pin|RMII_TX_EN_Pin;
  GPIO_InitStruct.Mode = GPIO_MODE_AF_PP;
  GPIO_InitStruct.Pull = GPIO_NOPULL;
  GPIO_InitStruct.Speed = GPIO_SPEED_FREQ_HIGH;
  GPIO_InitStruct.Alternate = GPIO_AF11_ETH;
  HAL_GPIO_Init(GPIOG, &GPIO_InitStruct);

  /*Configure GPIO pins : FMC_NBL1_Pin FMC_NBL0_Pin FMC_D5_Pin FMC_D6_Pin
                           FMC_D8_Pin FMC_D11_Pin FMC_D4_Pin FMC_D7_Pin
                           FMC_D9_Pin FMC_D12_Pin FMC_D10_Pin */
  GPIO_InitStruct.Pin = FMC_NBL1_Pin|FMC_NBL0_Pin|FMC_D5_Pin|FMC_D6_Pin
                          |FMC_D8_Pin|FMC_D11_Pin|FMC_D4_Pin|FMC_D7_Pin
                          |FMC_D9_Pin|FMC_D12_Pin|FMC_D10_Pin;
  GPIO_InitStruct.Mode = GPIO_MODE_AF_PP;
  GPIO_InitStruct.Pull = GPIO_NOPULL;
  GPIO_InitStruct.Speed = GPIO_SPEED_FREQ_VERY_HIGH;
  GPIO_InitStruct.Alternate = GPIO_AF12_FMC;
  HAL_GPIO_Init(GPIOE, &GPIO_InitStruct);

  /*Configure GPIO pins : ARDUINO_SCL_D15_Pin ARDUINO_SDA_D14_Pin */
  GPIO_InitStruct.Pin = ARDUINO_SCL_D15_Pin|ARDUINO_SDA_D14_Pin;
  GPIO_InitStruct.Mode = GPIO_MODE_AF_OD;
  GPIO_InitStruct.Pull = GPIO_NOPULL;
  GPIO_InitStruct.Speed = GPIO_SPEED_FREQ_LOW;
  GPIO_InitStruct.Alternate = GPIO_AF4_I2C1;
  HAL_GPIO_Init(GPIOB, &GPIO_InitStruct);

  /*Configure GPIO pins : ULPI_D7_Pin ULPI_D6_Pin ULPI_D5_Pin ULPI_D3_Pin
                           ULPI_D2_Pin ULPI_D1_Pin ULPI_D4_Pin */
  GPIO_InitStruct.Pin = ULPI_D7_Pin|ULPI_D6_Pin|ULPI_D5_Pin|ULPI_D3_Pin
                          |ULPI_D2_Pin|ULPI_D1_Pin|ULPI_D4_Pin;
  GPIO_InitStruct.Mode = GPIO_MODE_AF_PP;
  GPIO_InitStruct.Pull = GPIO_NOPULL;
  GPIO_InitStruct.Speed = GPIO_SPEED_FREQ_VERY_HIGH;
  GPIO_InitStruct.Alternate = GPIO_AF10_OTG_HS;
  HAL_GPIO_Init(GPIOB, &GPIO_InitStruct);

  /*Configure GPIO pin : SPDIF_RX0_Pin */
  GPIO_InitStruct.Pin = SPDIF_RX0_Pin;
  GPIO_InitStruct.Mode = GPIO_MODE_AF_PP;
  GPIO_InitStruct.Pull = GPIO_NOPULL;
  GPIO_InitStruct.Speed = GPIO_SPEED_FREQ_LOW;
  GPIO_InitStruct.Alternate = GPIO_AF8_SPDIFRX;
  HAL_GPIO_Init(SPDIF_RX0_GPIO_Port, &GPIO_InitStruct);

  /*Configure GPIO pins : SDMMC_CK_Pin SDMMC_D3_Pin SDMMC_D2_Pin PC9
                           PC8 */
  GPIO_InitStruct.Pin = SDMMC_CK_Pin|SDMMC_D3_Pin|SDMMC_D2_Pin|GPIO_PIN_9
                          |GPIO_PIN_8;
  GPIO_InitStruct.Mode = GPIO_MODE_AF_PP;
  GPIO_InitStruct.Pull = GPIO_NOPULL;
  GPIO_InitStruct.Speed = GPIO_SPEED_FREQ_VERY_HIGH;
  GPIO_InitStruct.Alternate = GPIO_AF12_SDMMC1;
  HAL_GPIO_Init(GPIOC, &GPIO_InitStruct);

  /*Configure GPIO pin : ARDUINO_PWM_D9_Pin */
  GPIO_InitStruct.Pin = ARDUINO_PWM_D9_Pin;
  GPIO_InitStruct.Mode = GPIO_MODE_AF_PP;
  GPIO_InitStruct.Pull = GPIO_NOPULL;
  GPIO_InitStruct.Speed = GPIO_SPEED_FREQ_LOW;
  GPIO_InitStruct.Alternate = GPIO_AF1_TIM2;
  HAL_GPIO_Init(ARDUINO_PWM_D9_GPIO_Port, &GPIO_InitStruct);

  /*Configure GPIO pins : DCMI_D6_Pin DCMI_D7_Pin */
  GPIO_InitStruct.Pin = DCMI_D6_Pin|DCMI_D7_Pin;
  GPIO_InitStruct.Mode = GPIO_MODE_AF_PP;
  GPIO_InitStruct.Pull = GPIO_NOPULL;
  GPIO_InitStruct.Speed = GPIO_SPEED_FREQ_LOW;
  GPIO_InitStruct.Alternate = GPIO_AF13_DCMI;
  HAL_GPIO_Init(GPIOE, &GPIO_InitStruct);

  /*Configure GPIO pin : QSPI_NCS_Pin */
  GPIO_InitStruct.Pin = QSPI_NCS_Pin;
  GPIO_InitStruct.Mode = GPIO_MODE_AF_PP;
  GPIO_InitStruct.Pull = GPIO_NOPULL;
  GPIO_InitStruct.Speed = GPIO_SPEED_FREQ_VERY_HIGH;
  GPIO_InitStruct.Alternate = GPIO_AF10_QUADSPI;
  HAL_GPIO_Init(QSPI_NCS_GPIO_Port, &GPIO_InitStruct);

  /*Configure GPIO pins : FMC_SDNCAS_Pin FMC_SDCLK_Pin FMC_A11_Pin FMC_A10_Pin
                           FMC_BA1_Pin FMC_BA0_Pin */
  GPIO_InitStruct.Pin = FMC_SDNCAS_Pin|FMC_SDCLK_Pin|FMC_A11_Pin|FMC_A10_Pin
                          |FMC_BA1_Pin|FMC_BA0_Pin;
  GPIO_InitStruct.Mode = GPIO_MODE_AF_PP;
  GPIO_InitStruct.Pull = GPIO_NOPULL;
  GPIO_InitStruct.Speed = GPIO_SPEED_FREQ_VERY_HIGH;
  GPIO_InitStruct.Alternate = GPIO_AF12_FMC;
  HAL_GPIO_Init(GPIOG, &GPIO_InitStruct);

  /*Configure GPIO pins : LCD_B1_Pin LCD_B2_Pin LCD_B3_Pin LCD_G4_Pin
                           LCD_G1_Pin LCD_G3_Pin LCD_G0_Pin LCD_G2_Pin
                           LCD_R7_Pin LCD_R5_Pin LCD_R6_Pin LCD_R4_Pin
                           LCD_R3_Pin LCD_R1_Pin LCD_R2_Pin */
  GPIO_InitStruct.Pin = LCD_B1_Pin|LCD_B2_Pin|LCD_B3_Pin|LCD_G4_Pin
                          |LCD_G1_Pin|LCD_G3_Pin|LCD_G0_Pin|LCD_G2_Pin
                          |LCD_R7_Pin|LCD_R5_Pin|LCD_R6_Pin|LCD_R4_Pin
                          |LCD_R3_Pin|LCD_R1_Pin|LCD_R2_Pin;
  GPIO_InitStruct.Mode = GPIO_MODE_AF_PP;
  GPIO_InitStruct.Pull = GPIO_NOPULL;
  GPIO_InitStruct.Speed = GPIO_SPEED_FREQ_LOW;
  GPIO_InitStruct.Alternate = GPIO_AF14_LTDC;
  HAL_GPIO_Init(GPIOJ, &GPIO_InitStruct);

  /*Configure GPIO pin : OTG_FS_VBUS_Pin */
  GPIO_InitStruct.Pin = OTG_FS_VBUS_Pin;
  GPIO_InitStruct.Mode = GPIO_MODE_INPUT;
  GPIO_InitStruct.Pull = GPIO_NOPULL;
  HAL_GPIO_Init(OTG_FS_VBUS_GPIO_Port, &GPIO_InitStruct);

  /*Configure GPIO pin : Audio_INT_Pin */
  GPIO_InitStruct.Pin = Audio_INT_Pin;
  GPIO_InitStruct.Mode = GPIO_MODE_EVT_RISING;
  GPIO_InitStruct.Pull = GPIO_NOPULL;
  HAL_GPIO_Init(Audio_INT_GPIO_Port, &GPIO_InitStruct);

  /*Configure GPIO pins : FMC_D2_Pin FMC_D3_Pin FMC_D1_Pin FMC_D15_Pin
                           FMC_D0_Pin FMC_D14_Pin FMC_D13_Pin */
  GPIO_InitStruct.Pin = FMC_D2_Pin|FMC_D3_Pin|FMC_D1_Pin|FMC_D15_Pin
                          |FMC_D0_Pin|FMC_D14_Pin|FMC_D13_Pin;
  GPIO_InitStruct.Mode = GPIO_MODE_AF_PP;
  GPIO_InitStruct.Pull = GPIO_NOPULL;
  GPIO_InitStruct.Speed = GPIO_SPEED_FREQ_VERY_HIGH;
  GPIO_InitStruct.Alternate = GPIO_AF12_FMC;
  HAL_GPIO_Init(GPIOD, &GPIO_InitStruct);

  /*Configure GPIO pins : OTG_FS_P_Pin OTG_FS_N_Pin OTG_FS_ID_Pin */
  GPIO_InitStruct.Pin = OTG_FS_P_Pin|OTG_FS_N_Pin|OTG_FS_ID_Pin;
  GPIO_InitStruct.Mode = GPIO_MODE_AF_PP;
  GPIO_InitStruct.Pull = GPIO_NOPULL;
  GPIO_InitStruct.Speed = GPIO_SPEED_FREQ_VERY_HIGH;
  GPIO_InitStruct.Alternate = GPIO_AF10_OTG_FS;
  HAL_GPIO_Init(GPIOA, &GPIO_InitStruct);

  /*Configure GPIO pins : SAI2_MCLKA_Pin SAI2_SCKA_Pin SAI2_FSA_Pin SAI2_SDA_Pin */
  GPIO_InitStruct.Pin = SAI2_MCLKA_Pin|SAI2_SCKA_Pin|SAI2_FSA_Pin|SAI2_SDA_Pin;
  GPIO_InitStruct.Mode = GPIO_MODE_AF_PP;
  GPIO_InitStruct.Pull = GPIO_NOPULL;
  GPIO_InitStruct.Speed = GPIO_SPEED_FREQ_LOW;
  GPIO_InitStruct.Alternate = GPIO_AF10_SAI2;
  HAL_GPIO_Init(GPIOI, &GPIO_InitStruct);

  /*Configure GPIO pins : LCD_DE_Pin LCD_B7_Pin LCD_B6_Pin LCD_B5_Pin
                           LCD_G6_Pin LCD_G7_Pin LCD_G5_Pin */
  GPIO_InitStruct.Pin = LCD_DE_Pin|LCD_B7_Pin|LCD_B6_Pin|LCD_B5_Pin
                          |LCD_G6_Pin|LCD_G7_Pin|LCD_G5_Pin;
  GPIO_InitStruct.Mode = GPIO_MODE_AF_PP;
  GPIO_InitStruct.Pull = GPIO_NOPULL;
  GPIO_InitStruct.Speed = GPIO_SPEED_FREQ_LOW;
  GPIO_InitStruct.Alternate = GPIO_AF14_LTDC;
  HAL_GPIO_Init(GPIOK, &GPIO_InitStruct);

  /*Configure GPIO pin : LCD_B4_Pin */
  GPIO_InitStruct.Pin = LCD_B4_Pin;
  GPIO_InitStruct.Mode = GPIO_MODE_AF_PP;
  GPIO_InitStruct.Pull = GPIO_NOPULL;
  GPIO_InitStruct.Speed = GPIO_SPEED_FREQ_LOW;
  GPIO_InitStruct.Alternate = GPIO_AF9_LTDC;
  HAL_GPIO_Init(LCD_B4_GPIO_Port, &GPIO_InitStruct);

  /*Configure GPIO pin : SAI2_SDB_Pin */
  GPIO_InitStruct.Pin = SAI2_SDB_Pin;
  GPIO_InitStruct.Mode = GPIO_MODE_AF_PP;
  GPIO_InitStruct.Pull = GPIO_NOPULL;
  GPIO_InitStruct.Speed = GPIO_SPEED_FREQ_LOW;
  GPIO_InitStruct.Alternate = GPIO_AF10_SAI2;
  HAL_GPIO_Init(SAI2_SDB_GPIO_Port, &GPIO_InitStruct);

  /*Configure GPIO pin : OTG_FS_PowerSwitchOn_Pin */
  GPIO_InitStruct.Pin = OTG_FS_PowerSwitchOn_Pin;
  GPIO_InitStruct.Mode = GPIO_MODE_OUTPUT_PP;
  GPIO_InitStruct.Pull = GPIO_NOPULL;
  GPIO_InitStruct.Speed = GPIO_SPEED_FREQ_LOW;
  HAL_GPIO_Init(OTG_FS_PowerSwitchOn_GPIO_Port, &GPIO_InitStruct);

  /*Configure GPIO pin : DCMI_D5_Pin */
  GPIO_InitStruct.Pin = DCMI_D5_Pin;
  GPIO_InitStruct.Mode = GPIO_MODE_AF_PP;
  GPIO_InitStruct.Pull = GPIO_NOPULL;
  GPIO_InitStruct.Speed = GPIO_SPEED_FREQ_LOW;
  GPIO_InitStruct.Alternate = GPIO_AF13_DCMI;
  HAL_GPIO_Init(DCMI_D5_GPIO_Port, &GPIO_InitStruct);

  /*Configure GPIO pins : ARDUINO_D7_Pin ARDUINO_D8_Pin LD1_Pin LCD_DISP_Pin */
  GPIO_InitStruct.Pin = ARDUINO_D7_Pin|ARDUINO_D8_Pin|LD1_Pin|LCD_DISP_Pin;
  GPIO_InitStruct.Mode = GPIO_MODE_OUTPUT_PP;
  GPIO_InitStruct.Pull = GPIO_NOPULL;
  GPIO_InitStruct.Speed = GPIO_SPEED_FREQ_LOW;
  HAL_GPIO_Init(GPIOI, &GPIO_InitStruct);

  /*Configure GPIO pin : uSD_Detect_Pin */
  GPIO_InitStruct.Pin = uSD_Detect_Pin;
  GPIO_InitStruct.Mode = GPIO_MODE_INPUT;
  GPIO_InitStruct.Pull = GPIO_NOPULL;
  HAL_GPIO_Init(uSD_Detect_GPIO_Port, &GPIO_InitStruct);

  /*Configure GPIO pins : FMC_A0_Pin FMC_A1_Pin FMC_A2_Pin FMC_A3_Pin
                           FMC_A4_Pin FMC_A5_Pin FMC_A6_Pin FMC_A9_Pin
                           FMC_A7_Pin FMC_A8_Pin FMC_SDNRAS_Pin */
  GPIO_InitStruct.Pin = FMC_A0_Pin|FMC_A1_Pin|FMC_A2_Pin|FMC_A3_Pin
                          |FMC_A4_Pin|FMC_A5_Pin|FMC_A6_Pin|FMC_A9_Pin
                          |FMC_A7_Pin|FMC_A8_Pin|FMC_SDNRAS_Pin;
  GPIO_InitStruct.Mode = GPIO_MODE_AF_PP;
  GPIO_InitStruct.Pull = GPIO_NOPULL;
  GPIO_InitStruct.Speed = GPIO_SPEED_FREQ_VERY_HIGH;
  GPIO_InitStruct.Alternate = GPIO_AF12_FMC;
  HAL_GPIO_Init(GPIOF, &GPIO_InitStruct);

  /*Configure GPIO pins : LCD_HSYNC_Pin LCD_VSYNC_Pin LCD_R0_Pin LCD_CLK_Pin */
  GPIO_InitStruct.Pin = LCD_HSYNC_Pin|LCD_VSYNC_Pin|LCD_R0_Pin|LCD_CLK_Pin;
  GPIO_InitStruct.Mode = GPIO_MODE_AF_PP;
  GPIO_InitStruct.Pull = GPIO_NOPULL;
  GPIO_InitStruct.Speed = GPIO_SPEED_FREQ_LOW;
  GPIO_InitStruct.Alternate = GPIO_AF14_LTDC;
  HAL_GPIO_Init(GPIOI, &GPIO_InitStruct);

  /*Configure GPIO pin : LCD_BL_CTRL_Pin */
  GPIO_InitStruct.Pin = LCD_BL_CTRL_Pin;
  GPIO_InitStruct.Mode = GPIO_MODE_OUTPUT_PP;
  GPIO_InitStruct.Pull = GPIO_NOPULL;
  GPIO_InitStruct.Speed = GPIO_SPEED_FREQ_LOW;
  HAL_GPIO_Init(LCD_BL_CTRL_GPIO_Port, &GPIO_InitStruct);

  /*Configure GPIO pin : DCMI_VSYNC_Pin */
  GPIO_InitStruct.Pin = DCMI_VSYNC_Pin;
  GPIO_InitStruct.Mode = GPIO_MODE_AF_PP;
  GPIO_InitStruct.Pull = GPIO_NOPULL;
  GPIO_InitStruct.Speed = GPIO_SPEED_FREQ_LOW;
  GPIO_InitStruct.Alternate = GPIO_AF13_DCMI;
  HAL_GPIO_Init(DCMI_VSYNC_GPIO_Port, &GPIO_InitStruct);

  /*Configure GPIO pin : OTG_FS_OverCurrent_Pin */
  GPIO_InitStruct.Pin = OTG_FS_OverCurrent_Pin;
  GPIO_InitStruct.Mode = GPIO_MODE_INPUT;
  GPIO_InitStruct.Pull = GPIO_NOPULL;
  HAL_GPIO_Init(OTG_FS_OverCurrent_GPIO_Port, &GPIO_InitStruct);

  /*Configure GPIO pin : SDMMC_D0_Pin */
  GPIO_InitStruct.Pin = SDMMC_D0_Pin;
  GPIO_InitStruct.Mode = GPIO_MODE_AF_PP;
  GPIO_InitStruct.Pull = GPIO_NOPULL;
  GPIO_InitStruct.Speed = GPIO_SPEED_FREQ_VERY_HIGH;
  GPIO_InitStruct.Alternate = GPIO_AF12_SDMMC1;
  HAL_GPIO_Init(SDMMC_D0_GPIO_Port, &GPIO_InitStruct);

  /*Configure GPIO pins : TP3_Pin NC2_Pin */
  GPIO_InitStruct.Pin = TP3_Pin|NC2_Pin;
  GPIO_InitStruct.Mode = GPIO_MODE_INPUT;
  GPIO_InitStruct.Pull = GPIO_NOPULL;
  HAL_GPIO_Init(GPIOH, &GPIO_InitStruct);

  /*Configure GPIO pin : DCMI_PWR_EN_Pin */
  GPIO_InitStruct.Pin = DCMI_PWR_EN_Pin;
  GPIO_InitStruct.Mode = GPIO_MODE_OUTPUT_PP;
  GPIO_InitStruct.Pull = GPIO_NOPULL;
  GPIO_InitStruct.Speed = GPIO_SPEED_FREQ_LOW;
  HAL_GPIO_Init(DCMI_PWR_EN_GPIO_Port, &GPIO_InitStruct);

  /*Configure GPIO pins : DCMI_D4_Pin DCMI_D3_Pin DCMI_D0_Pin DCMI_D2_Pin
                           DCMI_D1_Pin */
  GPIO_InitStruct.Pin = DCMI_D4_Pin|DCMI_D3_Pin|DCMI_D0_Pin|DCMI_D2_Pin
                          |DCMI_D1_Pin;
  GPIO_InitStruct.Mode = GPIO_MODE_AF_PP;
  GPIO_InitStruct.Pull = GPIO_NOPULL;
  GPIO_InitStruct.Speed = GPIO_SPEED_FREQ_LOW;
  GPIO_InitStruct.Alternate = GPIO_AF13_DCMI;
  HAL_GPIO_Init(GPIOH, &GPIO_InitStruct);

  /*Configure GPIO pin : ARDUINO_PWM_CS_D5_Pin */
  GPIO_InitStruct.Pin = ARDUINO_PWM_CS_D5_Pin;
  GPIO_InitStruct.Mode = GPIO_MODE_AF_PP;
  GPIO_InitStruct.Pull = GPIO_NOPULL;
  GPIO_InitStruct.Speed = GPIO_SPEED_FREQ_LOW;
  GPIO_InitStruct.Alternate = GPIO_AF2_TIM5;
  HAL_GPIO_Init(ARDUINO_PWM_CS_D5_GPIO_Port, &GPIO_InitStruct);

  /*Configure GPIO pin : B_USER_Pin */
  GPIO_InitStruct.Pin = B_USER_Pin;
  GPIO_InitStruct.Mode = GPIO_MODE_INPUT;
  GPIO_InitStruct.Pull = GPIO_PULLDOWN;
  HAL_GPIO_Init(B_USER_GPIO_Port, &GPIO_InitStruct);

  /*Configure GPIO pin : ARDUINO_PWM_D10_Pin */
  GPIO_InitStruct.Pin = ARDUINO_PWM_D10_Pin;
  GPIO_InitStruct.Mode = GPIO_MODE_AF_PP;
  GPIO_InitStruct.Pull = GPIO_NOPULL;
  GPIO_InitStruct.Speed = GPIO_SPEED_FREQ_LOW;
  GPIO_InitStruct.Alternate = GPIO_AF1_TIM1;
  HAL_GPIO_Init(ARDUINO_PWM_D10_GPIO_Port, &GPIO_InitStruct);

  /*Configure GPIO pin : LCD_INT_Pin */
  GPIO_InitStruct.Pin = LCD_INT_Pin;
  GPIO_InitStruct.Mode = GPIO_MODE_EVT_RISING;
  GPIO_InitStruct.Pull = GPIO_NOPULL;
  HAL_GPIO_Init(LCD_INT_GPIO_Port, &GPIO_InitStruct);

  /*Configure GPIO pins : ARDUINO_RX_D0_Pin ARDUINO_TX_D1_Pin */
  GPIO_InitStruct.Pin = ARDUINO_RX_D0_Pin|ARDUINO_TX_D1_Pin;
  GPIO_InitStruct.Mode = GPIO_MODE_AF_PP;
  GPIO_InitStruct.Pull = GPIO_NOPULL;
  GPIO_InitStruct.Speed = GPIO_SPEED_FREQ_VERY_HIGH;
  GPIO_InitStruct.Alternate = GPIO_AF8_USART6;
  HAL_GPIO_Init(GPIOC, &GPIO_InitStruct);

  /*Configure GPIO pin : ULPI_NXT_Pin */
  GPIO_InitStruct.Pin = ULPI_NXT_Pin;
  GPIO_InitStruct.Mode = GPIO_MODE_AF_PP;
  GPIO_InitStruct.Pull = GPIO_NOPULL;
  GPIO_InitStruct.Speed = GPIO_SPEED_FREQ_VERY_HIGH;
  GPIO_InitStruct.Alternate = GPIO_AF10_OTG_HS;
  HAL_GPIO_Init(ULPI_NXT_GPIO_Port, &GPIO_InitStruct);

  /*Configure GPIO pins : FMC_SDNME_Pin FMC_SDNE0_Pin */
  GPIO_InitStruct.Pin = FMC_SDNME_Pin|FMC_SDNE0_Pin;
  GPIO_InitStruct.Mode = GPIO_MODE_AF_PP;
  GPIO_InitStruct.Pull = GPIO_NOPULL;
  GPIO_InitStruct.Speed = GPIO_SPEED_FREQ_VERY_HIGH;
  GPIO_InitStruct.Alternate = GPIO_AF12_FMC;
  HAL_GPIO_Init(GPIOH, &GPIO_InitStruct);

  /*Configure GPIO pins : ARDUINO_D4_Pin ARDUINO_D2_Pin EXT_RST_Pin */
  GPIO_InitStruct.Pin = ARDUINO_D4_Pin|ARDUINO_D2_Pin|EXT_RST_Pin;
  GPIO_InitStruct.Mode = GPIO_MODE_OUTPUT_PP;
  GPIO_InitStruct.Pull = GPIO_NOPULL;
  GPIO_InitStruct.Speed = GPIO_SPEED_FREQ_LOW;
  HAL_GPIO_Init(GPIOG, &GPIO_InitStruct);

  /*Configure GPIO pins : ARDUINO_A4_Pin ARDUINO_A5_Pin ARDUINO_A1_Pin ARDUINO_A2_Pin
                           ARDUINO_A3_Pin */
  GPIO_InitStruct.Pin = ARDUINO_A4_Pin|ARDUINO_A5_Pin|ARDUINO_A1_Pin|ARDUINO_A2_Pin
                          |ARDUINO_A3_Pin;
  GPIO_InitStruct.Mode = GPIO_MODE_ANALOG;
  GPIO_InitStruct.Pull = GPIO_NOPULL;
  HAL_GPIO_Init(GPIOF, &GPIO_InitStruct);

  /*Configure GPIO pin : FMC_SDCKE0_Pin */
  GPIO_InitStruct.Pin = FMC_SDCKE0_Pin;
  GPIO_InitStruct.Mode = GPIO_MODE_AF_PP;
  GPIO_InitStruct.Pull = GPIO_NOPULL;
  GPIO_InitStruct.Speed = GPIO_SPEED_FREQ_VERY_HIGH;
  GPIO_InitStruct.Alternate = GPIO_AF12_FMC;
  HAL_GPIO_Init(FMC_SDCKE0_GPIO_Port, &GPIO_InitStruct);

  /*Configure GPIO pins : ULPI_STP_Pin ULPI_DIR_Pin */
  GPIO_InitStruct.Pin = ULPI_STP_Pin|ULPI_DIR_Pin;
  GPIO_InitStruct.Mode = GPIO_MODE_AF_PP;
  GPIO_InitStruct.Pull = GPIO_NOPULL;
  GPIO_InitStruct.Speed = GPIO_SPEED_FREQ_VERY_HIGH;
  GPIO_InitStruct.Alternate = GPIO_AF10_OTG_HS;
  HAL_GPIO_Init(GPIOC, &GPIO_InitStruct);

  /*Configure GPIO pins : RMII_MDC_Pin RMII_RXD0_Pin RMII_RXD1_Pin */
  GPIO_InitStruct.Pin = RMII_MDC_Pin|RMII_RXD0_Pin|RMII_RXD1_Pin;
  GPIO_InitStruct.Mode = GPIO_MODE_AF_PP;
  GPIO_InitStruct.Pull = GPIO_NOPULL;
  GPIO_InitStruct.Speed = GPIO_SPEED_FREQ_HIGH;
  GPIO_InitStruct.Alternate = GPIO_AF11_ETH;
  HAL_GPIO_Init(GPIOC, &GPIO_InitStruct);

  /*Configure GPIO pin : PB2 */
  GPIO_InitStruct.Pin = GPIO_PIN_2;
  GPIO_InitStruct.Mode = GPIO_MODE_AF_PP;
  GPIO_InitStruct.Pull = GPIO_NOPULL;
  GPIO_InitStruct.Speed = GPIO_SPEED_FREQ_VERY_HIGH;
  GPIO_InitStruct.Alternate = GPIO_AF9_QUADSPI;
  HAL_GPIO_Init(GPIOB, &GPIO_InitStruct);

  /*Configure GPIO pins : QSPI_D1_Pin QSPI_D3_Pin QSPI_D0_Pin */
  GPIO_InitStruct.Pin = QSPI_D1_Pin|QSPI_D3_Pin|QSPI_D0_Pin;
  GPIO_InitStruct.Mode = GPIO_MODE_AF_PP;
  GPIO_InitStruct.Pull = GPIO_NOPULL;
  GPIO_InitStruct.Speed = GPIO_SPEED_FREQ_VERY_HIGH;
  GPIO_InitStruct.Alternate = GPIO_AF9_QUADSPI;
  HAL_GPIO_Init(GPIOD, &GPIO_InitStruct);

  /*Configure GPIO pin : RMII_RXER_Pin */
  GPIO_InitStruct.Pin = RMII_RXER_Pin;
  GPIO_InitStruct.Mode = GPIO_MODE_INPUT;
  GPIO_InitStruct.Pull = GPIO_NOPULL;
  HAL_GPIO_Init(RMII_RXER_GPIO_Port, &GPIO_InitStruct);

  /*Configure GPIO pins : RMII_REF_CLK_Pin RMII_MDIO_Pin RMII_CRS_DV_Pin */
  GPIO_InitStruct.Pin = RMII_REF_CLK_Pin|RMII_MDIO_Pin|RMII_CRS_DV_Pin;
  GPIO_InitStruct.Mode = GPIO_MODE_AF_PP;
  GPIO_InitStruct.Pull = GPIO_NOPULL;
  GPIO_InitStruct.Speed = GPIO_SPEED_FREQ_HIGH;
  GPIO_InitStruct.Alternate = GPIO_AF11_ETH;
  HAL_GPIO_Init(GPIOA, &GPIO_InitStruct);

  /*Configure GPIO pin : ARDUINO_A0_Pin */
  GPIO_InitStruct.Pin = ARDUINO_A0_Pin;
  GPIO_InitStruct.Mode = GPIO_MODE_ANALOG;
  GPIO_InitStruct.Pull = GPIO_NOPULL;
  HAL_GPIO_Init(ARDUINO_A0_GPIO_Port, &GPIO_InitStruct);

  /*Configure GPIO pins : DCMI_HSYNC_Pin PA6 */
  GPIO_InitStruct.Pin = DCMI_HSYNC_Pin|GPIO_PIN_6;
  GPIO_InitStruct.Mode = GPIO_MODE_AF_PP;
  GPIO_InitStruct.Pull = GPIO_NOPULL;
  GPIO_InitStruct.Speed = GPIO_SPEED_FREQ_LOW;
  GPIO_InitStruct.Alternate = GPIO_AF13_DCMI;
  HAL_GPIO_Init(GPIOA, &GPIO_InitStruct);

  /*Configure GPIO pins : ULPI_CLK_Pin ULPI_D0_Pin */
  GPIO_InitStruct.Pin = ULPI_CLK_Pin|ULPI_D0_Pin;
  GPIO_InitStruct.Mode = GPIO_MODE_AF_PP;
  GPIO_InitStruct.Pull = GPIO_NOPULL;
  GPIO_InitStruct.Speed = GPIO_SPEED_FREQ_VERY_HIGH;
  GPIO_InitStruct.Alternate = GPIO_AF10_OTG_HS;
  HAL_GPIO_Init(GPIOA, &GPIO_InitStruct);

  /*Configure GPIO pin : ARDUINO_PWM_D6_Pin */
  GPIO_InitStruct.Pin = ARDUINO_PWM_D6_Pin;
  GPIO_InitStruct.Mode = GPIO_MODE_AF_PP;
  GPIO_InitStruct.Pull = GPIO_NOPULL;
  GPIO_InitStruct.Speed = GPIO_SPEED_FREQ_LOW;
  GPIO_InitStruct.Alternate = GPIO_AF9_TIM12;
  HAL_GPIO_Init(ARDUINO_PWM_D6_GPIO_Port, &GPIO_InitStruct);

  /*Configure GPIO pins : ARDUINO_MISO_D12_Pin ARDUINO_MOSI_PWM_D11_Pin */
  GPIO_InitStruct.Pin = ARDUINO_MISO_D12_Pin|ARDUINO_MOSI_PWM_D11_Pin;
  GPIO_InitStruct.Mode = GPIO_MODE_AF_PP;
  GPIO_InitStruct.Pull = GPIO_NOPULL;
  GPIO_InitStruct.Speed = GPIO_SPEED_FREQ_LOW;
  GPIO_InitStruct.Alternate = GPIO_AF5_SPI2;
  HAL_GPIO_Init(GPIOB, &GPIO_InitStruct);

}

/* USER CODE BEGIN 4 */
void HAL_TIM_PeriodElapsedCallback(TIM_HandleTypeDef *htim) {

    if (htim->Instance == TIM3) {
      if (button_override) {
        HAL_GPIO_WritePin(GPIOI, LD1_Pin, GPIO_PIN_SET);
      }
      else {
        HAL_GPIO_TogglePin(GPIOI, LD1_Pin);
      }
    }
}
/* USER CODE END 4 */

void Error_Handler(void)
{
  __disable_irq();
  while (1)
  {
  }
}
